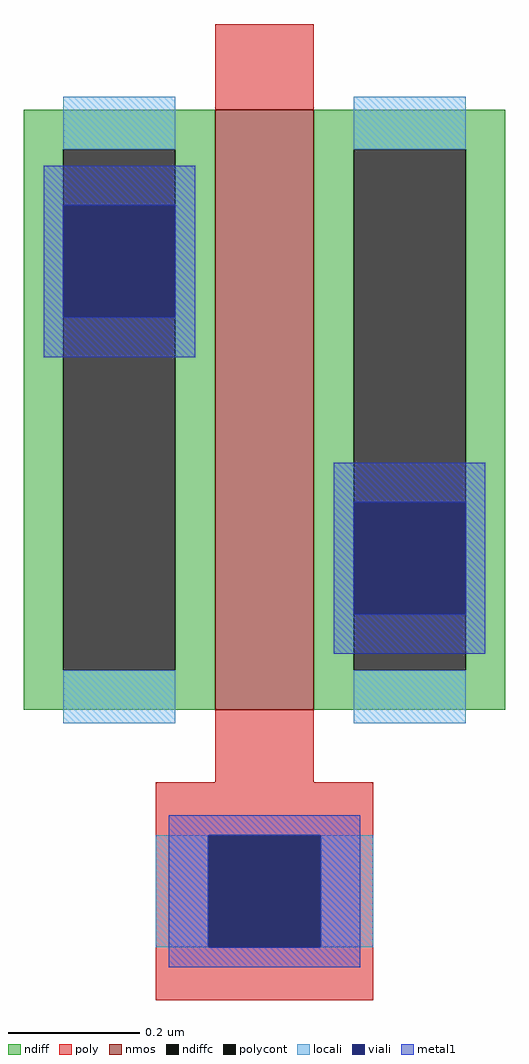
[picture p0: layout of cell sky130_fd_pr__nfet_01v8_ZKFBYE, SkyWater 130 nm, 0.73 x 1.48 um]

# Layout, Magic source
magic
tech sky130A
magscale 1 2
<< nmos >>
rect -15 -60 15 122
<< ndiff >>
rect -73 110 -15 122
rect -73 -48 -61 110
rect -27 -48 -15 110
rect -73 -60 -15 -48
rect 15 110 73 122
rect 15 -48 27 110
rect 61 -48 73 110
rect 15 -60 73 -48
<< ndiffc >>
rect -61 -48 -27 110
rect 27 -48 61 110
<< poly >>
rect -15 122 15 148
rect -15 -82 15 -60
rect -33 -98 33 -82
rect -33 -132 -17 -98
rect 17 -132 33 -98
rect -33 -148 33 -132
<< polycont >>
rect -17 -132 17 -98
<< locali >>
rect -61 110 -27 126
rect -61 -64 -27 -48
rect 27 110 61 126
rect 27 -64 61 -48
rect -33 -132 -17 -98
rect 17 -132 33 -98
<< viali >>
rect -61 59 -27 93
rect 27 -31 61 3
rect -17 -132 17 -98
<< metal1 >>
rect -67 93 -21 105
rect -67 59 -61 93
rect -27 59 -21 93
rect -67 47 -21 59
rect 21 3 67 15
rect 21 -31 27 3
rect 61 -31 67 3
rect 21 -43 67 -31
rect -29 -98 29 -92
rect -29 -132 -17 -98
rect 17 -132 29 -98
rect -29 -138 29 -132
<< properties >>
string gencell sky130_fd_pr__nfet_01v8
string library sky130
string parameters w 0.91 l 0.15 m 1 nf 1 diffcov 100 polycov 100 guard 0 glc 1 grc 1 gtc 1 gbc 1 tbcov 100 rlcov 100 topc 0 botc 1 poverlap 0 doverlap 1 lmin 0.15 wmin 0.42 compatible {sky130_fd_pr__nfet_01v8 sky130_fd_pr__nfet_01v8_lvt  sky130_fd_bs_flash__special_sonosfet_star  sky130_fd_pr__nfet_g5v0d10v5 sky130_fd_pr__nfet_05v0_nvt  sky130_fd_pr__nfet_03v3_nvt} full_metal 0 viasrc +20 viadrn -20 viagate 100 viagb 0 viagr 0 viagl 0 viagt 0
<< end >>
